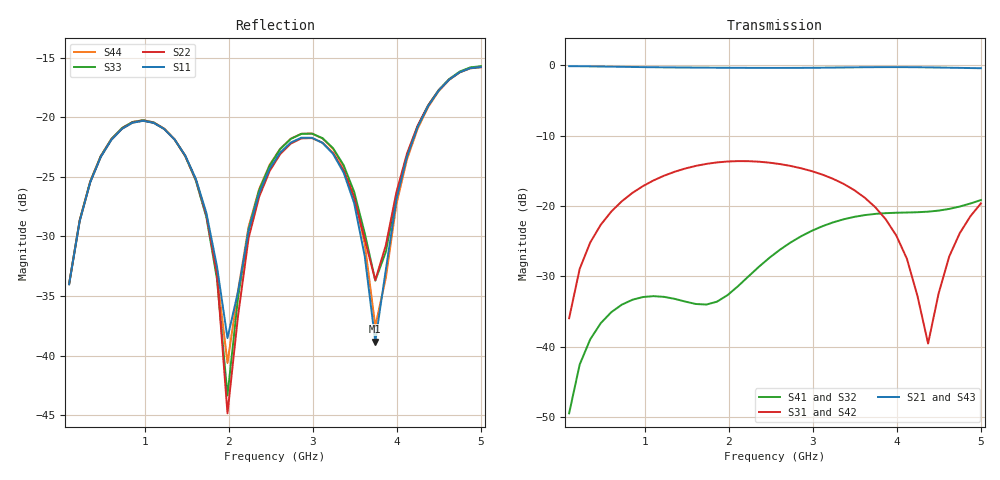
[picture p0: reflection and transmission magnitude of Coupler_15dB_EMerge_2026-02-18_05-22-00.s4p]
! Generated by EMerge - 4-port S-parameters
! File generated: 2026-02-18 05:22
! --- Coupler_15dB ---
! Substrate: RO4003C
! h = 0.508 mm
! Design parameters:
! W0 = 1.08 mm
! L_coupled = 22.75 mm
! W_coupled = 1.0 mm
! S_coupled = 0.3 mm
! L_feed = 10.0 mm
! L_trans = 1.0 mm
! Air box height = 10 mm
! Run time = 0.76 min
# GHZ S RI R 50
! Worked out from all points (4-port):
!   40 points, 100 MHz to 5 GHz, reference 50 ohm
!   strongest paths, dB at 100 MHz, 1.356 GHz, 2.613 GHz, 3.869 GHz, 5 GHz:
!     S21: -0.1, -0.3, -0.4, -0.3, -0.4
!     S43: -0.1, -0.3, -0.4, -0.3, -0.4
!     S31: -36.0, -15.1, -14.1, -21.9, -19.6
!     S42: -36.0, -15.1, -14.1, -21.9, -19.7
!     S41: -49.5, -33.2, -26.2, -21.0, -19.2
!     S32: -49.5, -33.3, -26.4, -21.1, -19.1
!   lowest |S11| = -38.8 dB at 3.744 GHz (marker M1), VSWR 1.02, Z = 51.1 + j0.188 ohm
!   |S11| at or under -10 dB: start of sweep to end of sweep
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0.1  0.0146 0.0135  0.9737 -0.1532  0.00254 0.0157  -0.000752 -0.00327
     0.9737 -0.1532  0.0146 0.0135  -0.000755 -0.00327  0.00253 0.0157
     0.00254 0.0157  -0.000756 -0.00327  0.0147 0.0137  0.9737 -0.1532
     -0.000753 -0.00327  0.00253 0.0157  0.9737 -0.1532  0.0147 0.0137
1.230769  0.084 -0.0306  -0.315 -0.9141  0.1547 -0.0553  -0.0133 0.0182
          -0.315 -0.9141  0.083 -0.0332  -0.0129 0.0184  0.1549 -0.0546
          0.1546 -0.0553  -0.013 0.0184  0.0835 -0.0325  -0.3143 -0.9143
          -0.0134 0.0182  0.1548 -0.0546  -0.3143 -0.9143  0.084 -0.0314
1.984615  0.0115 -0.00286  -0.9569 -0.0801  0.0168 -0.2064  -0.003 0.0229
          -0.9569 -0.0801  0.00461 -0.0034  -0.00262 0.0219  0.0183 -0.2062
          0.0169 -0.2063  -0.00263 0.022  0.00663 -0.00154  -0.9568 -0.0811
          -0.00301 0.023  0.0183 -0.2061  -0.9568 -0.0811  0.00921 -0.00143
2.738462  0.073 0.0287  -0.4588 0.841  -0.1672 -0.0953  0.04 0.0378
          -0.4588 0.841  0.0676 0.0383  0.0384 0.0374  -0.1661 -0.0971
          -0.1671 -0.0954  0.0385 0.0375  0.0722 0.0372  -0.46 0.84
          0.0401 0.0378  -0.166 -0.097  -0.46 0.8401  0.0743 0.0332
3.74359  0.0113 0.00184  0.8447 0.4771  -0.0471 0.086  0.0409 -0.0774
         0.8446 0.4771  0.0196 0.00691  0.0418 -0.0759  -0.0488 0.0849
         -0.0471 0.0859  0.0419 -0.0761  0.0203 0.00393  0.8435 0.4791
         0.0411 -0.0776  -0.0487 0.0849  0.8436 0.4791  0.0133 -7.07e-06
4.371795  0.0673 0.0889  0.8597 -0.4416  0.00953 -0.00455  -0.0426 -0.0802
          0.8597 -0.4416  0.07 0.0877  -0.0415 -0.0808  0.00884 -0.00389
          0.00947 -0.00458  -0.0416 -0.081  0.0723 0.0857  0.8608 -0.4395
          -0.0427 -0.0805  0.00891 -0.00398  0.8609 -0.4395  0.0641 0.09
5  0.1622 0.00944  0.1085 -0.9469  -0.1004 -0.0279  -0.1064 -0.0275
   0.1085 -0.9468  0.1616 0.0147  -0.1065 -0.0278  -0.0995 -0.0288
   -0.1005 -0.0279  -0.1068 -0.0279  0.1637 0.00844  0.1113 -0.9463
   -0.1067 -0.0276  -0.0996 -0.029  0.1112 -0.9464  0.1626 0.0167
